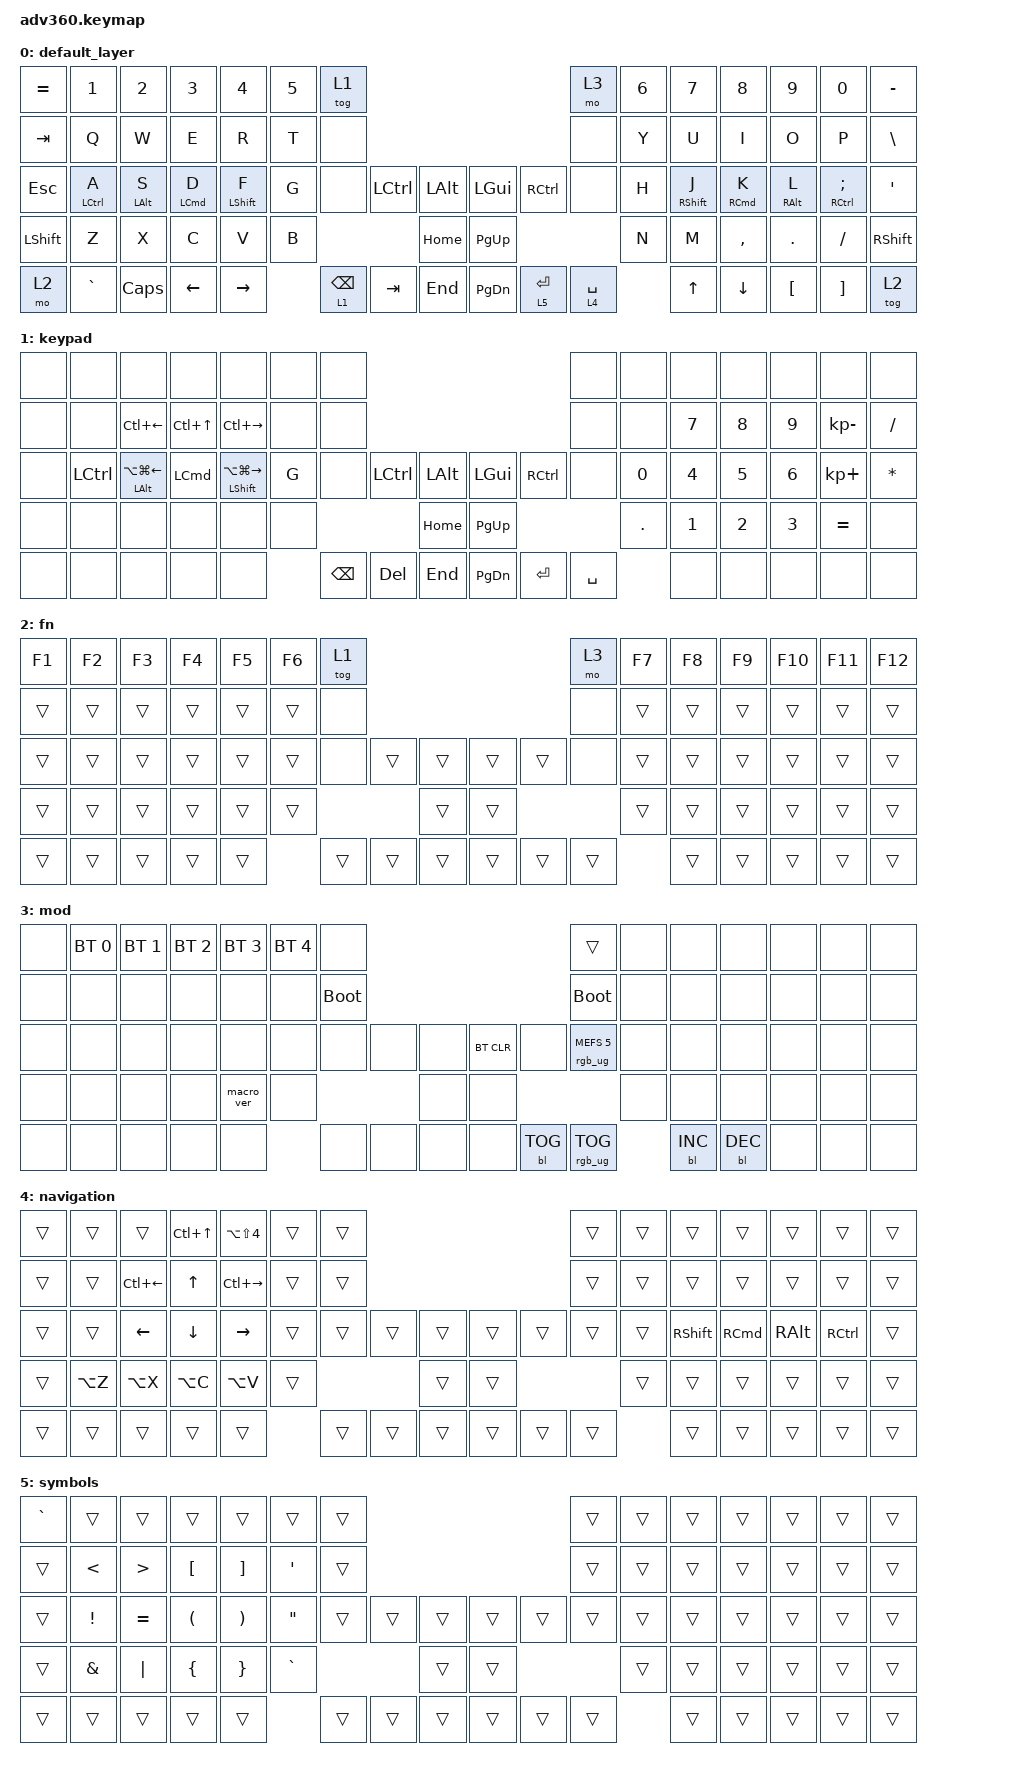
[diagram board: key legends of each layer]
#include <behaviors.dtsi>
#include <dt-bindings/zmk/backlight.h>
#include <dt-bindings/zmk/bt.h>
#include <dt-bindings/zmk/keys.h>
#include <dt-bindings/zmk/rgb.h>

/ {
    behaviors {
        #include "macros.dtsi"
      #include "version.dtsi"
      #ifndef VERSION_MACRO

        macro_ver: macro_ver {
            compatible = "zmk,behavior-macro";
            label = "macro_version";
            #binding-cells = <0>;
            bindings = <&kp RET>;
        };

        double_shift: double_shift {
            compatible = "zmk,behavior-macro";
            #binding-cells = <0>;
            bindings = <&kp LEFT_SHIFT &kp LEFT_SHIFT>;
            label = "DOUBLE_SHIFT";
        };

        #endif

        hm: homerow_mods {
            compatible = "zmk,behavior-hold-tap";
            label = "HOMEROW_MODS";
            #binding-cells = <2>;
            tapping-term-ms = <200>;
            quick_tap_ms = <175>;
            flavor = "tap-preferred";
            bindings = <&kp>, <&kp>;
        };
    };

    macros {
    };

    combos {
        compatible = "zmk,combos";

        wspace_left {
            bindings = <&kp LC(LEFT_ARROW)>;
            key-positions = <30 31>;
            layers = <0>;
        };

        wspace_right {
            bindings = <&kp LC(RIGHT)>;
            key-positions = <31 32>;
            layers = <0>;
        };

        overview {
            bindings = <&kp LC(UP_ARROW)>;
            key-positions = <30 31 32>;
            layers = <0>;
        };
    };

    keymap {
        compatible = "zmk,keymap";

        default_layer {
            bindings = <
&kp EQUAL  &kp N1       &kp N2          &kp N3              &kp N4            &kp N5  &tog 1                                                            &mo 3        &kp N6  &kp N7        &kp N8               &kp N9      &kp N0                       &kp MINUS
&kp TAB    &kp Q        &kp W           &kp E               &kp R             &kp T   &none                                                             &none        &kp Y   &kp U         &kp I                &kp O       &kp P                        &kp BSLH
&kp ESC    &hm LCTRL A  &hm LEFT_ALT S  &hm LEFT_COMMAND D  &hm LEFT_SHIFT F  &kp G   &none            &kp LCTRL  &kp LALT      &kp LGUI   &kp RCTRL    &none        &kp H   &hm RSHIFT J  &hm RIGHT_COMMAND K  &hm RALT L  &hm RIGHT_CONTROL SEMICOLON  &kp SQT
&kp LSHFT  &kp Z        &kp X           &kp C               &kp V             &kp B                               &kp HOME      &kp PG_UP                            &kp N   &kp M         &kp COMMA            &kp DOT     &kp FSLH                     &kp RSHFT
&mo 2      &kp GRAVE    &kp CAPS        &kp LEFT            &kp RIGHT                 &lt 1 BACKSPACE  &kp TAB    &kp END       &kp PG_DN  &lt 5 ENTER  &lt 4 SPACE          &kp UP        &kp DOWN             &kp LBKT    &kp RBKT                     &tog 2
            >;
        };

        keypad {
            bindings = <
&none  &none             &none                            &none             &none                          &none  &none                                                    &none      &none         &none         &none         &none         &none         &none
&none  &none             &kp LC(LEFT_ARROW)               &kp LC(UP_ARROW)  &kp LC(RIGHT_ARROW)            &none  &none                                                    &none      &none         &kp N7        &kp N8        &kp N9        &kp KP_MINUS  &kp SLASH
&none  &kp LEFT_CONTROL  &hm LEFT_ALT LA(LG(LEFT_ARROW))  &kp LEFT_COMMAND  &hm LSHFT LA(LG(RIGHT_ARROW))  &kp G  &none     &kp LCTRL  &kp LALT      &kp LGUI   &kp RCTRL  &none      &kp NUMBER_0  &kp NUMBER_4  &kp N5        &kp NUMBER_6  &kp KP_PLUS   &kp ASTERISK
&none  &none             &none                            &none             &none                          &none                       &kp HOME      &kp PG_UP                        &kp PERIOD    &kp NUMBER_1  &kp NUMBER_2  &kp NUMBER_3  &kp EQUAL     &none
&none  &none             &none                            &none             &none                                 &kp BSPC  &kp DEL    &kp END       &kp PG_DN  &kp ENTER  &kp SPACE                &none         &none         &none         &none         &none
            >;
        };

        fn {
            bindings = <
&kp F1  &kp F2  &kp F3  &kp F4  &kp F5  &kp F6  &tog 1                                      &mo 3   &kp F7  &kp F8  &kp F9  &kp F10  &kp F11  &kp F12
&trans  &trans  &trans  &trans  &trans  &trans  &none                                       &none   &trans  &trans  &trans  &trans   &trans   &trans
&trans  &trans  &trans  &trans  &trans  &trans  &none   &trans  &trans      &trans  &trans  &none   &trans  &trans  &trans  &trans   &trans   &trans
&trans  &trans  &trans  &trans  &trans  &trans                  &trans      &trans                  &trans  &trans  &trans  &trans   &trans   &trans
&trans  &trans  &trans  &trans  &trans          &trans  &trans  &trans      &trans  &trans  &trans          &trans  &trans  &trans   &trans   &trans
            >;
        };

        mod {
            bindings = <
&none  &bt BT_SEL 0  &bt BT_SEL 1  &bt BT_SEL 2  &bt BT_SEL 3  &bt BT_SEL 4  &none                                                  &trans                  &none  &none       &none       &none  &none  &none
&none  &none         &none         &none         &none         &none         &bootloader                                            &bootloader             &none  &none       &none       &none  &none  &none
&none  &none         &none         &none         &none         &none         &none        &none  &none      &bt BT_CLR  &none       &rgb_ug RGB_MEFS_CMD 5  &none  &none       &none       &none  &none  &none
&none  &none         &none         &none         &macro_ver    &none                             &none      &none                                           &none  &none       &none       &none  &none  &none
&none  &none         &none         &none         &none                       &none        &none  &none      &none       &bl BL_TOG  &rgb_ug RGB_TOG                &bl BL_INC  &bl BL_DEC  &none  &none  &none
            >;
        };

        navigation {
            bindings = <
&trans  &trans     &trans        &kp LC(UP_ARROW)  &kp LA(LS(NUMBER_4))  &trans  &trans                                      &trans  &trans  &trans           &trans             &trans    &trans             &trans
&trans  &trans     &kp LC(LEFT)  &kp UP_ARROW      &kp LC(RIGHT)         &trans  &trans                                      &trans  &trans  &trans           &trans             &trans    &trans             &trans
&trans  &trans     &kp LEFT      &kp DOWN          &kp RIGHT             &trans  &trans  &trans  &trans      &trans  &trans  &trans  &trans  &kp RIGHT_SHIFT  &kp RIGHT_COMMAND  &kp RALT  &kp RIGHT_CONTROL  &trans
&trans  &kp LA(Z)  &kp LA(X)     &kp LA(C)         &kp LA(V)             &trans                  &trans      &trans                  &trans  &trans           &trans             &trans    &trans             &trans
&trans  &trans     &trans        &trans            &trans                        &trans  &trans  &trans      &trans  &trans  &trans          &trans           &trans             &trans    &trans             &trans
            >;
        };

        symbols {
            bindings = <
&kp GRAVE  &trans           &trans            &trans                &trans                 &trans             &trans                                      &trans  &trans  &trans  &trans  &trans  &trans  &trans
&trans     &kp LESS_THAN    &kp GREATER_THAN  &kp LEFT_BRACKET      &kp RIGHT_BRACKET      &kp SQT            &trans                                      &trans  &trans  &trans  &trans  &trans  &trans  &trans
&trans     &kp EXCLAMATION  &kp EQUAL         &kp LEFT_PARENTHESIS  &kp RIGHT_PARENTHESIS  &kp DOUBLE_QUOTES  &trans  &trans  &trans      &trans  &trans  &trans  &trans  &trans  &trans  &trans  &trans  &trans
&trans     &kp AMPERSAND    &kp PIPE          &kp LEFT_BRACE        &kp RIGHT_BRACE        &kp GRAVE                          &trans      &trans                  &trans  &trans  &trans  &trans  &trans  &trans
&trans     &trans           &trans            &trans                &trans                                    &trans  &trans  &trans      &trans  &trans  &trans          &trans  &trans  &trans  &trans  &trans
            >;
        };
    };
};
